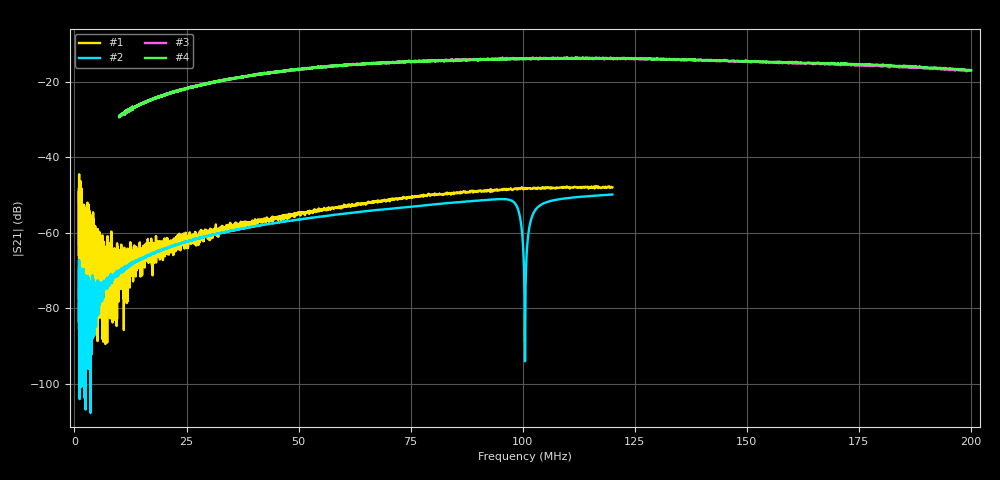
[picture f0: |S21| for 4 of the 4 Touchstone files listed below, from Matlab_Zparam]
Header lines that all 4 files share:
#  HZ  S  DB  R  50.0
! Rohde & Schwarz ZVL
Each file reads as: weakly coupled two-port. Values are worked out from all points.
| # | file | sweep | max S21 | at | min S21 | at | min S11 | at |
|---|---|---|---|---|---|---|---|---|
| 1 | 50_Ohm_NDV.s2p | 1 MHz to 120 MHz | -44.50 dB | 1.05 MHz | -90.5 dB | 2.118 MHz | -0.5 dB | 3.248 MHz |
| 2 | Hi_Z_NDV.s2p | 1 MHz to 120 MHz | -49.85 dB | 120 MHz | -107.7 dB | 3.6 MHz | -0.2 dB | 1.681 MHz |
| 3 | Scode.s2p | 10 MHz to 200 MHz | -13.53 dB | 111.7 MHz | -29.4 dB | 10 MHz | -0.7 dB | 101.8 MHz |
| 4 | Scode_Old.s2p | 10 MHz to 200 MHz | -13.52 dB | 109.8 MHz | -29.4 dB | 10.06 MHz | -0.7 dB | 12.9 MHz |
